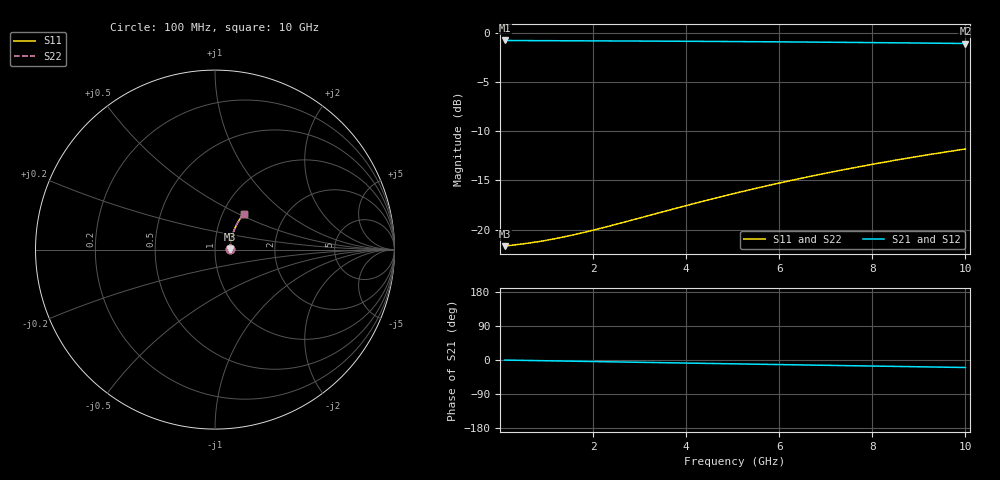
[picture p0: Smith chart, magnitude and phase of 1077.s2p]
# Hz S RI R 50.00
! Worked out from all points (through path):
!   100 points, 100 MHz to 10 GHz, reference 50 ohm
!   highest |S21| = -0.75 dB at 100 MHz (marker M1); lowest = -1.1 dB at 10 GHz (marker M2)
!   group delay of S21, straight-line fit = 5.51 ps
!   lowest |S11| = -21.7 dB at 100 MHz (marker M3), VSWR 1.18, Z = 59 + j0.267 ohm
!   |S11| at or under -10 dB: start of sweep to end of sweep
!   |S22| runs from -21.7 to -11.8 dB; largest |S21 - S12| = 0
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1e8  0.0823 0.00225  0.9177 -0.00325  0.9177 -0.00325  0.0823 0.00225
6e8  0.0842 0.0135  0.9158 -0.0194  0.9158 -0.0194  0.0842 0.0135
8e8  0.0847 0.0179  0.9152 -0.0259  0.9152 -0.0259  0.0847 0.0179
1e9  0.0853 0.0224  0.9146 -0.0323  0.9146 -0.0323  0.0853 0.0224
1.2e9  0.0859 0.0268  0.914 -0.0388  0.914 -0.0388  0.0859 0.0268
1.4e9  0.0866 0.0312  0.9133 -0.0452  0.9133 -0.0452  0.0866 0.0312
1.8e9  0.088 0.0401  0.9118 -0.058  0.9118 -0.058  0.088 0.0401
2.1e9  0.0891 0.0467  0.9106 -0.0676  0.9106 -0.0676  0.0891 0.0467
2.4e9  0.0904 0.0532  0.9093 -0.0771  0.9093 -0.0771  0.0904 0.0532
3.4e9  0.0955 0.0748  0.9038 -0.1087  0.9038 -0.1087  0.0955 0.0748
4.3e9  0.1013 0.0939  0.8977 -0.1367  0.8977 -0.1367  0.1013 0.0939
5.1e9  0.1074 0.1104  0.8913 -0.1612  0.8913 -0.1612  0.1074 0.1104
5.5e9  0.1107 0.1185  0.8877 -0.1733  0.8877 -0.1733  0.1107 0.1185
5.9e9  0.1143 0.1264  0.8839 -0.1853  0.8839 -0.1853  0.1143 0.1264
6.3e9  0.118 0.1343  0.8799 -0.1971  0.8799 -0.1971  0.118 0.1343
6.7e9  0.122 0.142  0.8757 -0.2088  0.8757 -0.2088  0.122 0.142
7.1e9  0.1261 0.1496  0.8712 -0.2204  0.8712 -0.2204  0.1261 0.1496
7.5e9  0.1305 0.1571  0.8666 -0.2319  0.8666 -0.2319  0.1305 0.1571
7.9e9  0.135 0.1644  0.8617 -0.2432  0.8617 -0.2432  0.135 0.1644
8.4e9  0.1409 0.1733  0.8554 -0.2571  0.8554 -0.2571  0.1409 0.1733
9.2e9  0.1509 0.187  0.8446 -0.2789  0.8446 -0.2789  0.1509 0.187
1e10  0.1616 0.2001  0.8332 -0.3  0.8332 -0.3  0.1616 0.2001
